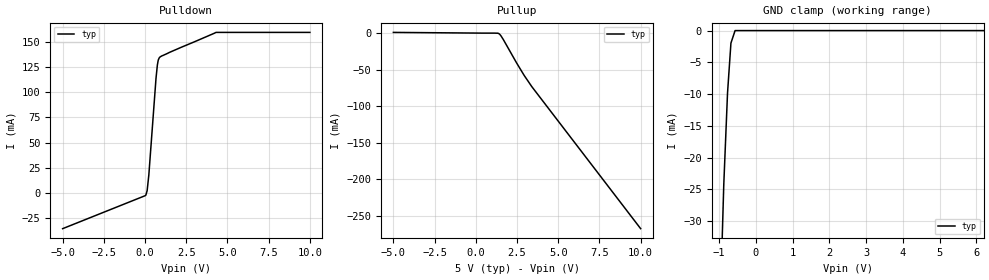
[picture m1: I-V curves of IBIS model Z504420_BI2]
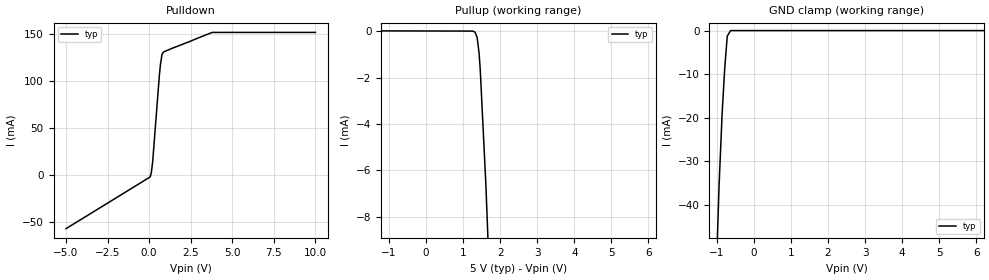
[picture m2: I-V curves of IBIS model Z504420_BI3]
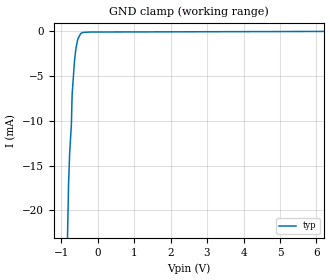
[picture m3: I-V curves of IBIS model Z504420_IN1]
| YOU ARE ONLY AUTHORIZED TO USE THIS SOFTWARE
| ACCORDING TO LICENSOR'S LICENSE RESTRICTIONS.
[IBIS Ver] 3.1
[File Name] sn54ls245j.ibs
[File Rev] 2.0
[Source] Measured and created by ICX Technology
[Date] Friday 7/14/00 9:08:14 AM
[Copyright]
| (C) COPYRIGHT 1993-2000
| MENTOR GRAPHICS CORPORATION
| ICX STANDARD LIBRARY, ICX PROJECT MODELING,
| ICX CUSTOM MODELING, ICX VENDOR MODEL
| ALL RIGHTS RESERVED.
| THE FOLLOWING ARE TRADEMARKS OR SERVICE MARKS OF
| MENTOR GRAPHICS CORPORATION:ICX (R), ICX STANDARD
| LIBRARY(R), ICX PROJECT MODELING(R), ICX CUSTOM
| MODELING(R), qualityIBIS(TM), MODELVIEWER(TM),
| AND MODELEDITOR(TM)
| ALL COPIES OF SOFTWARE, INCLUDING BUT NOT LIMITED TO
| ANY MODIFICATIONS, ENHANCEMENTS OR DERIVATIVE WORKS,
| MUST CONTAIN ALL MENTOR GRAPHICS CORPORATION'S
| NOTICES AND LEGENDS, INCLUDING THOSE EMBEDDED IN
| SOFTWARE AND THOSE AFFIXED TO SOFTWARE MEDIUM
| AND CONTAINER, AS RECEIVED FROM MENTOR GRAPHICS
| CORPORATION.
|  ZAP Model Builder 2.7
[Component] SN54LS245J
[Manufacturer] OnSemiconductor
[Package]
| variable   typ   min   max
R_pkg  .216ohms NA NA
L_pkg  5.76nH NA NA
C_pkg  2.193pF NA NA
[Pin] signal_name  model_name  R_pin  L_pin C_pin
1 DIR Z504420_IN1 .232 9.76n 3.179p
2 A0 Z504420_BI2 .224 7.26n 2.686p
3 A1 Z504420_BI2 .216 5.26n 2.193p
4 A2 Z504420_BI2 .208 3.76n 1.7p
5 A3 Z504420_BI2 .2 2.76n 1.207p
6 A4 Z504420_BI2 .2 2.76n 1.207p
7 A5 Z504420_BI2 .208 3.76n 1.7p
8 A6 Z504420_BI2 .216 5.26n 2.193p
9 A7 Z504420_BI2 .224 7.26n 2.686p
10 GND GND .232 9.76n 3.179p
11 B7 Z504420_BI3 .232 9.76n 3.179p
12 B6 Z504420_BI3 .224 7.26n 2.686p
13 B5 Z504420_BI3 .216 5.26n 2.193p
14 B4 Z504420_BI3 .208 3.76n 1.7p
15 B3 Z504420_BI3 .2 2.76n 1.207p
16 B2 Z504420_BI3 .2 2.76n 1.207p
17 B1 Z504420_BI3 .208 3.76n 1.7p
18 B0 Z504420_BI3 .216 5.26n 2.193p
19 _G Z504420_IN4 .224 7.26n 2.686p
20 VCC POWER .232 9.76n 3.179p
| Models and submodels in the file (4): Z504420_BI2 (I/O), Z504420_BI3 (I/O), Z504420_IN1 (Input), Z504420_IN4 (Input)
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| (C) COPYRIGHT 1993-2000
| MENTOR GRAPHICS CORPORATION
| ICX STANDARD LIBRARY, ICX PROJECT MODELING,
| ICX CUSTOM MODELING, ICX VENDOR MODEL
| ALL RIGHTS RESERVED.
| THE FOLLOWING ARE TRADEMARKS OR SERVICE MARKS OF
| MENTOR GRAPHICS CORPORATION:ICX (R), ICX STANDARD
| LIBRARY(R), ICX PROJECT MODELING(R), ICX CUSTOM
| MODELING(R), qualityIBIS(TM), MODELVIEWER(TM),
| AND MODELEDITOR(TM)
| ALL COPIES OF SOFTWARE, INCLUDING BUT NOT LIMITED TO
| ANY MODIFICATIONS, ENHANCEMENTS OR DERIVATIVE WORKS,
| MUST CONTAIN ALL MENTOR GRAPHICS CORPORATION'S
| NOTICES AND LEGENDS, INCLUDING THOSE EMBEDDED IN
| SOFTWARE AND THOSE AFFIXED TO SOFTWARE MEDIUM
| AND CONTAINER, AS RECEIVED FROM MENTOR GRAPHICS
| CORPORATION.
| Model Application Version 1.89 2/18/99.
[Model] Z504420_BI2
Model_type I/O
Vinl=800.0mV
Vinh=2.000V
Vref=588.0mV
Rref=588.5ohms
Cref=45.00pF
Vmeas=1.300V
C_comp 8.000pF NA NA
| variable typ   min   max
[Voltage Range] 5.000V NA NA
[POWER Clamp Reference] 5.000V NA NA
[Pullup Reference] 5.000V NA NA
[Pulldown Reference] 0.000V NA NA
[GND Clamp Reference] 0.000V NA NA
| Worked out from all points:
|   slope of the pulldown table from 0 to 0.75 V, typ, clamps not added: 5.78 ohm
|   slope of the pullup table from 0 to 0.75 V, typ, clamps not added: 11.5 kohm
|   GND clamp passes 1 mA (typ) near -0.62 V on its own axis
[GND Clamp]
-5V       -1.166A    NA         NA
-1.005V   -50.24mA   NA         NA
-873.1mV  -24.22mA   NA         NA
-771.5mV  -9.853mA   NA         NA
-678.7mV  -1.971mA   NA         NA
-565.6mV  0A         NA         NA
10V       0A         NA         NA
[Pulldown]
-5V       -35.2mA    NA         NA
48.83mV   -1.954mA   NA         NA
127mV     2.499mA    NA         NA
229mV     17.97mA    NA         NA
664.1mV   113.7mA    NA         NA
747.3mV   126.9mA    NA         NA
800.8mV   131.8mA    NA         NA
864mV     134.1mA    NA         NA
920.3mV   135mA      NA         NA
4.304V    159.2mA    NA         NA
10V       159.2mA    NA         NA
[Pullup]
-5V       1.188mA    NA         NA
1.123V    195.3uA    NA         NA
1.42V     -851.4uA   NA         NA
1.67V     -8.643mA   NA         NA
2.931V    -57.62mA   NA         NA
3.398V    -73.09mA   NA         NA
10V       -267.5mA   NA         NA
[POWER Clamp]
-5V       0A         NA         NA
10V       0A         NA         NA
[Ramp]
| variable typ min max
dV/dt_r 1.981/6.789n NA NA
dV/dt_f 1.981/1.806n NA NA
R_load = 500.0Ohms
| (C) COPYRIGHT 1993-2000
| MENTOR GRAPHICS CORPORATION
| ICX STANDARD LIBRARY, ICX PROJECT MODELING,
| ICX CUSTOM MODELING, ICX VENDOR MODEL
| ALL RIGHTS RESERVED.
| THE FOLLOWING ARE TRADEMARKS OR SERVICE MARKS OF
| MENTOR GRAPHICS CORPORATION:ICX (R), ICX STANDARD
| LIBRARY(R), ICX PROJECT MODELING(R), ICX CUSTOM
| MODELING(R), qualityIBIS(TM), MODELVIEWER(TM),
| AND MODELEDITOR(TM)
| ALL COPIES OF SOFTWARE, INCLUDING BUT NOT LIMITED TO
| ANY MODIFICATIONS, ENHANCEMENTS OR DERIVATIVE WORKS,
| MUST CONTAIN ALL MENTOR GRAPHICS CORPORATION'S
| NOTICES AND LEGENDS, INCLUDING THOSE EMBEDDED IN
| SOFTWARE AND THOSE AFFIXED TO SOFTWARE MEDIUM
| AND CONTAINER, AS RECEIVED FROM MENTOR GRAPHICS
| CORPORATION.
| Model Application Version 1.89 2/18/99.
[Model] Z504420_BI3
Model_type I/O
Vinl=800.0mV
Vinh=2.000V
Vref=588.0mV
Rref=588.5ohms
Cref=45.00pF
Vmeas=1.300V
C_comp 8.000pF NA NA
| variable typ   min   max
[Voltage Range] 5.000V NA NA
[POWER Clamp Reference] 5.000V NA NA
[Pullup Reference] 5.000V NA NA
[Pulldown Reference] 0.000V NA NA
[GND Clamp Reference] 0.000V NA NA
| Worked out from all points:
|   slope of the pulldown table from 0 to 0.75 V, typ, clamps not added: 5.83 ohm
|   GND clamp passes 1 mA (typ) near -0.70 V on its own axis
[GND Clamp]
-5V       -1.453A    NA         NA
-1.06V    -67.77mA   NA         NA
-936.8mV  -35.32mA   NA         NA
-854.1mV  -18.81mA   NA         NA
-786.1mV  -8.743mA   NA         NA
-717.8mV  -1.287mA   NA         NA
-628.1mV  0A         NA         NA
10V       0A         NA         NA
[Pulldown]
-5V       -57.14mA   NA         NA
68.82mV   -1.54mA    NA         NA
128.3mV   2.088mA    NA         NA
214.1mV   14.75mA    NA         NA
610.5mV   105.4mA    NA         NA
678.9mV   117.8mA    NA         NA
766.6mV   128mA      NA         NA
864.6mV   131.1mA    NA         NA
3.794V    152.1mA    NA         NA
10V       152.1mA    NA         NA
[Pullup]
-5V       24.6uA     NA         NA
1.263V    1.949uA    NA         NA
1.325V    -44.84uA   NA         NA
1.382V    -285.7uA   NA         NA
1.434V    -965.6uA   NA         NA
1.465V    -1.674mA   NA         NA
1.616V    -6.613mA   NA         NA
10V       -353.1mA   NA         NA
[POWER Clamp]
-5V       0A         NA         NA
10V       0A         NA         NA
[Ramp]
| variable typ min max
dV/dt_r 1.974/7.064n NA NA
dV/dt_f 1.974/1.469n NA NA
R_load = 500.0Ohms
| (C) COPYRIGHT 1993-2000
| MENTOR GRAPHICS CORPORATION
| ICX STANDARD LIBRARY, ICX PROJECT MODELING,
| ICX CUSTOM MODELING, ICX VENDOR MODEL
| ALL RIGHTS RESERVED.
| THE FOLLOWING ARE TRADEMARKS OR SERVICE MARKS OF
| MENTOR GRAPHICS CORPORATION:ICX (R), ICX STANDARD
| LIBRARY(R), ICX PROJECT MODELING(R), ICX CUSTOM
| MODELING(R), qualityIBIS(TM), MODELVIEWER(TM),
| AND MODELEDITOR(TM)
| ALL COPIES OF SOFTWARE, INCLUDING BUT NOT LIMITED TO
| ANY MODIFICATIONS, ENHANCEMENTS OR DERIVATIVE WORKS,
| MUST CONTAIN ALL MENTOR GRAPHICS CORPORATION'S
| NOTICES AND LEGENDS, INCLUDING THOSE EMBEDDED IN
| SOFTWARE AND THOSE AFFIXED TO SOFTWARE MEDIUM
| AND CONTAINER, AS RECEIVED FROM MENTOR GRAPHICS
| CORPORATION.
| Model Application Version 1.89 2/18/99.
[Model] Z504420_IN1
Model_type Input
Vinl = 800.0mV
Vinh = 2.000V
C_comp 4.000pF NA NA
| variable typ   min   max
[Voltage Range] 5.000V NA NA
[GND Clamp Reference] 0.000V NA NA
[POWER Clamp Reference] 5.000V NA NA
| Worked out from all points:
|   GND clamp passes 1 mA (typ) near -0.55 V on its own axis
[GND Clamp]
-5V       -882.9mA   NA         NA
-795.9mV  -17.07mA   NA         NA
-767.7mV  -13.74mA   NA         NA
-717.8mV  -10.33mA   NA         NA
-698.2mV  -7.071mA   NA         NA
-633.9mV  -3.308mA   NA         NA
-590.8mV  -1.812mA   NA         NA
-542mV    -840.9uA   NA         NA
-464.3mV  -233.1uA   NA         NA
-408.8mV  -106.4uA   NA         NA
-204.4mV  -61.65uA   NA         NA
10V       46.81uA    NA         NA
[POWER Clamp]
-5V       0A         NA         NA
10V       0A         NA         NA
